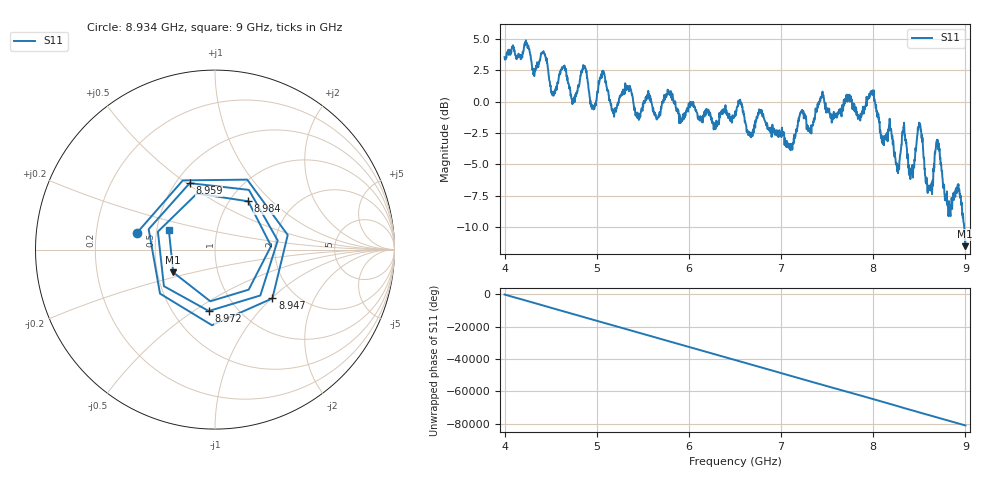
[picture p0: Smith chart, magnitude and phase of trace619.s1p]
! Created with skrf 1.8.0 (http://scikit-rf.org).
# Hz S RI R 50.0
!freq ReS11 ImS11
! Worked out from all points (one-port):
!   1601 points, 4 GHz to 9 GHz, reference 50 ohm
!   lowest |S11| = -11.5 dB at 8.997 GHz (marker M1), VSWR 1.72, Z = 30.3 - j8.25 ohm
!   |S11| at or under -10 dB: 8.98707 GHz to end of sweep
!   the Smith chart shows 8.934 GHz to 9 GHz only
!   S11 on the Smith chart (normalised r, x): 8.934 GHz: 0.39, +0.09; 8.947 GHz: 1.54, -1.01; 8.959 GHz: 0.59, +0.51; 8.972 GHz: 0.74, -0.58; 8.984 GHz: 1.21, +0.73; 9 GHz: 0.58, +0.13
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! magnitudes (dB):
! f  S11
! 4 GHz  3.6
! 4.419 GHz  4.0
! 4.528 GHz  0.7
! 4.625 GHz  2.6
! 4.741 GHz  -0.1
! 4.856 GHz  2.6
! 4.953 GHz  -0.4
! 5.059 GHz  2.2
! 5.25 GHz  0.5
! 5.875 GHz  -0.6
! 6.5 GHz  -1.1
! 7.125 GHz  -3.4
! 7.75 GHz  0.4
! 7.988 GHz  0.8
! 8.256 GHz  -4.9
! 8.331 GHz  -2.1
! 8.375 GHz  -4.2
! 8.503 GHz  -2.0
! 8.594 GHz  -6.7
! 8.694 GHz  -3.5
! 8.822 GHz  -7.9
! 8.934 GHz  -7.0
! 8.947 GHz  -7.5
! 8.959 GHz  -8.0
! 8.972 GHz  -9.3
! 8.984 GHz  -9.7
! 8.997 GHz  -11.5
! 9 GHz  -11.1
